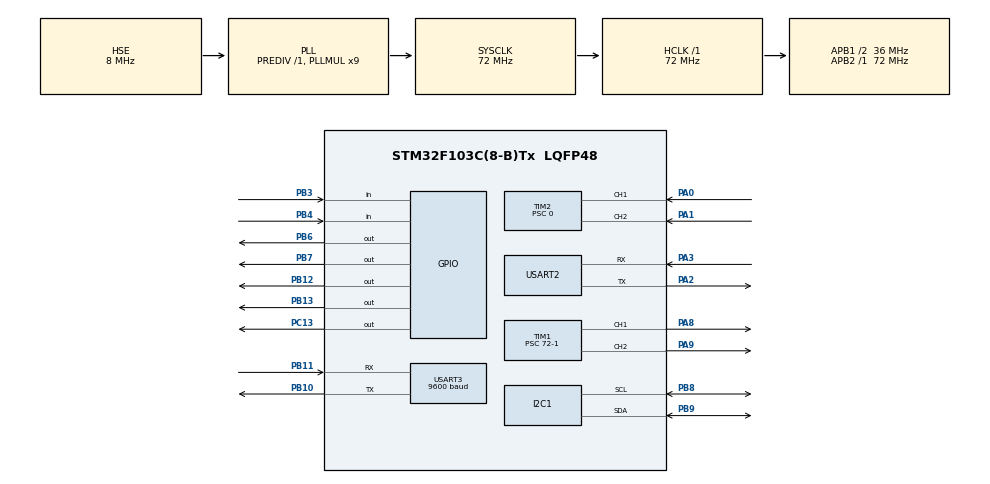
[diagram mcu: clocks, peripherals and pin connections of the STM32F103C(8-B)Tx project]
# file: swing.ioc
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Mcu.Family=STM32F1
Mcu.Name=STM32F103C(8-B)Tx
Mcu.Package=LQFP48
NVIC.PriorityGroup=NVIC_PRIORITYGROUP_4
NVIC.TIM1_BRK_IRQn=true\:0\:0\:false\:false\:true\:true\:true\:true
NVIC.TIM1_CC_IRQn=true\:0\:0\:false\:false\:true\:true\:true\:true
NVIC.TIM1_TRG_COM_IRQn=true\:0\:0\:false\:false\:true\:true\:true\:true
NVIC.TIM1_UP_IRQn=true\:0\:0\:false\:false\:true\:true\:true\:true
NVIC.TIM2_IRQn=true\:0\:0\:false\:false\:true\:true\:true\:true
NVIC.TIM3_IRQn=true\:0\:0\:false\:false\:true\:true\:true\:true
NVIC.TIM4_IRQn=true\:0\:0\:false\:false\:true\:true\:true\:true
NVIC.USART2_IRQn=true\:0\:0\:false\:false\:true\:true\:true\:true
NVIC.USART3_IRQn=true\:1\:0\:true\:false\:true\:true\:true\:true
PA0-WKUP.Signal=S_TIM2_CH1_ETR
PA1.Signal=S_TIM2_CH2
PA13.Mode=Serial_Wire
PA13.Signal=SYS_JTMS-SWDIO
PA14.Mode=Serial_Wire
PA14.Signal=SYS_JTCK-SWCLK
PA2.Mode=Asynchronous
PA2.Signal=USART2_TX
PA3.Mode=Asynchronous
PA3.Signal=USART2_RX
PA8.Signal=S_TIM1_CH1
PA9.Signal=S_TIM1_CH2
PB10.Mode=Asynchronous
PB10.Signal=USART3_TX
PB11.Mode=Asynchronous
PB11.Signal=USART3_RX
PB12.Signal=GPIO_Output
PB13.Signal=GPIO_Output
PB3.GPIO_PuPd=GPIO_PULLUP
PB3.Signal=GPIO_Input
PB4.GPIO_PuPd=GPIO_PULLUP
PB4.Signal=GPIO_Input
PB6.Signal=GPIO_Output
PB7.Signal=GPIO_Output
PB8.Mode=I2C
PB8.Signal=I2C1_SCL
PB9.Mode=I2C
PB9.Signal=I2C1_SDA
PC13-TAMPER-RTC.PinState=GPIO_PIN_SET
PC13-TAMPER-RTC.Signal=GPIO_Output
PD0-OSC_IN.Mode=HSE-External-Oscillator
PD0-OSC_IN.Signal=RCC_OSC_IN
PD1-OSC_OUT.Mode=HSE-External-Oscillator
PD1-OSC_OUT.Signal=RCC_OSC_OUT
ProjectManager.HeapSize=0x200
ProjectManager.StackSize=0x400
ProjectManager.TargetToolchain=MDK-ARM V5.32
RCC.ADCPresc=RCC_ADCPCLK2_DIV6
RCC.AHBFreq_Value=72000000
RCC.APB1CLKDivider=RCC_HCLK_DIV2
RCC.APB1Freq_Value=36000000
RCC.APB1TimFreq_Value=72000000
RCC.APB2Freq_Value=72000000
RCC.APB2TimFreq_Value=72000000
RCC.HCLKFreq_Value=72000000
RCC.PLLMUL=RCC_PLL_MUL9
RCC.PLLSourceVirtual=RCC_PLLSOURCE_HSE
RCC.SYSCLKFreq_VALUE=72000000
RCC.SYSCLKSource=RCC_SYSCLKSOURCE_PLLCLK
RCC.USBFreq_Value=72000000
SH.S_TIM1_CH1.0=TIM1_CH1,PWM Generation1 CH1
SH.S_TIM1_CH2.0=TIM1_CH2,PWM Generation2 CH2
SH.S_TIM2_CH1_ETR.0=TIM2_CH1,Encoder_Interface
SH.S_TIM2_CH2.0=TIM2_CH2,Encoder_Interface
TIM1.Channel-PWM\ Generation1\ CH1=TIM_CHANNEL_1
TIM1.Channel-PWM\ Generation2\ CH2=TIM_CHANNEL_2
TIM1.Period=10000-1
TIM1.Prescaler=72-1
TIM2.EncoderMode=TIM_ENCODERMODE_TI12
TIM2.Period=65535
TIM2.Prescaler=0
TIM3.Period=1000-1
TIM3.Prescaler=72-1
TIM4.Period=1499
TIM4.Prescaler=721
USART2.VirtualMode=VM_ASYNC
USART3.BaudRate=9600
USART3.VirtualMode=VM_ASYNC
VP_TIM1_VS_ClockSourceINT.Mode=Internal
VP_TIM3_VS_ClockSourceINT.Mode=Internal
VP_TIM4_VS_ClockSourceINT.Mode=Internal
board=custom

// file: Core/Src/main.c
/* USER CODE BEGIN Header */
/**
 ******************************************************************************
 * @file           : main.c
 * @brief          : Main program body
 ******************************************************************************
 * @attention
 *
 * Copyright (c) 2024 STMicroelectronics.
 * All rights reserved.
 *
 * This software is licensed under terms that can be found in the LICENSE file
 * in the root directory of this software component.
 * If no LICENSE file comes with this software, it is provided AS-IS.
 *
 ******************************************************************************
 */
/* USER CODE END Header */
#include "main.h"
#include "i2c.h"
#include "tim.h"
#include "usart.h"
#include "gpio.h"

/* USER CODE BEGIN Includes */
#include "oled.h"
#include "interrupt.h"
#include "adcc.h"
#include "string.h"
#include "stdio.h"
#include "pid.h"
#include "vofa.h"
#include "bluetooth.h"

/* USER CODE END Includes */

/* USER CODE BEGIN PTD */
//extern char rxdatas[30];
//extern uint8_t rxdata;
//extern unsigned char rx_pointer;
//extern int flag_stop;
//int flag_init = 0;

//extern uint8_t rx_buff;
extern uint8_t USART3_NewData;

extern uint8_t rx_buff;

extern uint8_t x_ball;
extern uint8_t y_ball;
extern float x_pid_out;
extern float y_pid_out;
extern uint8_t USART3_RX_BUF[200];
extern uint8_t USART3_RX_STA;

extern int target;

/* USER CODE END PTD */

void SystemClock_Config(void);

int main(void)
{

  /* MCU Configuration--------------------------------------------------------*/

  /* Reset of all peripherals, Initializes the Flash interface and the Systick. */
  HAL_Init();

  /* Configure the system clock */
  SystemClock_Config();

  /* Initialize all configured peripherals */
  MX_GPIO_Init();
  MX_TIM1_Init();
  MX_I2C1_Init();
  MX_USART3_UART_Init();
  MX_TIM2_Init();
  MX_TIM3_Init();
  MX_TIM4_Init();
  MX_USART2_UART_Init();
  /* USER CODE BEGIN 2 */
  OLED_Init();
  OLED_Clear();
  HAL_TIM_Base_Start_IT(&htim1);
  HAL_TIM_Base_Start(&htim1);

	HAL_TIM_Base_Start_IT(&htim3);
  HAL_TIM_Base_Start(&htim3);

	HAL_TIM_Base_Start_IT(&htim4);
  HAL_TIM_Base_Start(&htim4);

  __HAL_TIM_SET_COMPARE(&htim1, TIM_CHANNEL_2, 1000);
  __HAL_TIM_SET_COMPARE(&htim1, TIM_CHANNEL_1, 1500);

  HAL_TIM_PWM_Start(&htim1, TIM_CHANNEL_1);
  HAL_TIM_PWM_Start(&htim1, TIM_CHANNEL_2);

  //HAL_ADC_Start(&hadc1);
  //HAL_ADCEx_Calibration_Start(&hadc1);
  // HAL_UART_Receive_IT(&huart3, &rxdata, 1);
  // HAL_UART_Receive_IT(&huart3,(uint8_t *)&USART3_NewData,1);
//  HAL_UART_Receive_IT(&huart2,(uint8_t *)&USART3_NewData,1);
  HAL_UART_Receive_IT(&huart3, (uint8_t *)&USART2_NewData, 1);
//  HAL_UART_Receive_IT(&huart3, (uint8_t *)&rx_buff, 1);
  HAL_TIM_Encoder_Start(&htim2, TIM_CHANNEL_ALL);

  //__HAL_TIM_SET_COUNTER(&htim2, 30000);

// num_counter = __HAL_TIM_GET_COUNTER(&htim2);

  /* USER CODE END 2 */

  /* Infinite loop */
  /* USER CODE BEGIN WHILE */
  while (1)
  {
    OLED_ShowNum(0, 0, x_ball, 5, 16, 1);
    OLED_ShowNum(0, 2, y_ball, 5, 16, 1);
    OLED_ShowNum(0, 4, target, 2, 16, 1);
    // OLED_ShowNum(0, 4, x_pid_out*x_pid_out/x_ball, 5, 16, 1);
    // OLED_ShowNum(0, 6, y_pid_out/(y_ball+500)*1500, 7, 16, 1);
    // OLED_ShowNum(0, 4, USART3_RX_BUF[USART3_RX_STA-4], 5, 16, 1);
    // OLED_ShowNum(0, 6, USART3_RX_BUF[USART3_RX_STA-5], 5, 16, 1);

      // __HAL_TIM_SET_COMPARE(&htim1, TIM_CHANNEL_2, 1000);    // 500 左上45°  1000 �?90  2000 �?
      // __HAL_TIM_SET_COMPARE(&htim1, TIM_CHANNEL_1, 1500);      //1000 左上45° 1500 �?90 2300�?

//    vodka_JustFloat_send(&huart3);
    /* USER CODE END WHILE */

  }
}

void SystemClock_Config(void)
{
  RCC_OscInitTypeDef RCC_OscInitStruct = {0};
  RCC_ClkInitTypeDef RCC_ClkInitStruct = {0};

  /** Initializes the RCC Oscillators according to the specified parameters
  * in the RCC_OscInitTypeDef structure.
  */
  RCC_OscInitStruct.OscillatorType = RCC_OSCILLATORTYPE_HSE;
  RCC_OscInitStruct.HSEState = RCC_HSE_ON;
  RCC_OscInitStruct.HSEPredivValue = RCC_HSE_PREDIV_DIV1;
  RCC_OscInitStruct.HSIState = RCC_HSI_ON;
  RCC_OscInitStruct.PLL.PLLState = RCC_PLL_ON;
  RCC_OscInitStruct.PLL.PLLSource = RCC_PLLSOURCE_HSE;
  RCC_OscInitStruct.PLL.PLLMUL = RCC_PLL_MUL9;
  if (HAL_RCC_OscConfig(&RCC_OscInitStruct) != HAL_OK)
  {
    Error_Handler();
  }

  /** Initializes the CPU, AHB and APB buses clocks
  */
  RCC_ClkInitStruct.ClockType = RCC_CLOCKTYPE_HCLK|RCC_CLOCKTYPE_SYSCLK
                              |RCC_CLOCKTYPE_PCLK1|RCC_CLOCKTYPE_PCLK2;
  RCC_ClkInitStruct.SYSCLKSource = RCC_SYSCLKSOURCE_PLLCLK;
  RCC_ClkInitStruct.AHBCLKDivider = RCC_SYSCLK_DIV1;
  RCC_ClkInitStruct.APB1CLKDivider = RCC_HCLK_DIV2;
  RCC_ClkInitStruct.APB2CLKDivider = RCC_HCLK_DIV1;

  if (HAL_RCC_ClockConfig(&RCC_ClkInitStruct, FLASH_LATENCY_2) != HAL_OK)
  {
    Error_Handler();
  }
}

void Error_Handler(void)
{
  __disable_irq();
  while (1)
  {
  }
}
